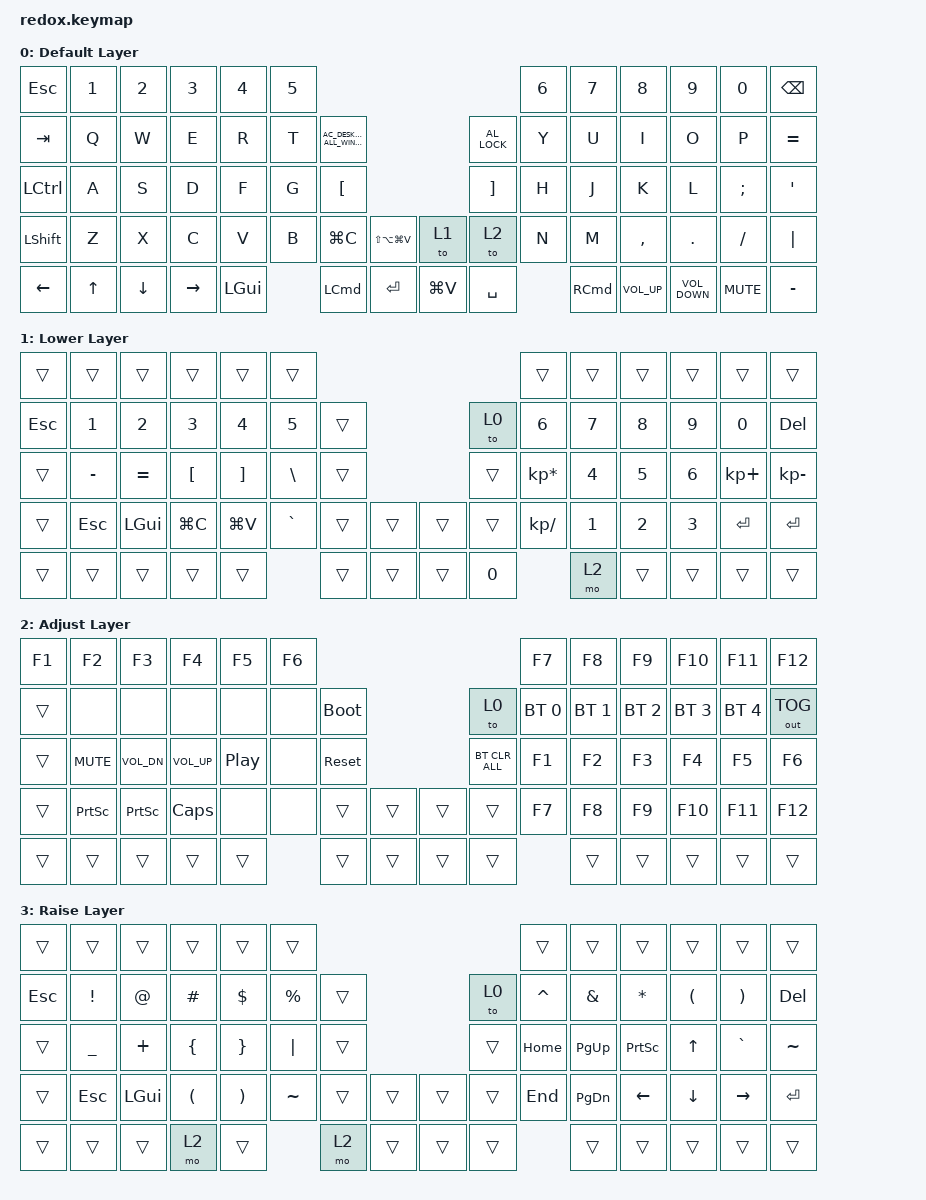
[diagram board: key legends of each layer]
/*
 * Copyright (c) 2021 The ZMK Contributors
 *
 * SPDX-License-Identifier: MIT
 */

#include <behaviors.dtsi>
#include <dt-bindings/zmk/bt.h>
#include <dt-bindings/zmk/keys.h>
#include <dt-bindings/zmk/outputs.h>

/ {
    keymap {
        compatible = "zmk,keymap";

        default_layer {
            display-name = "Default Layer";

            // --------------------------------------------------------------------------------------------------------------------------------
            // | ESC   |  1  |  2  |   3   |  4  |  5  |                   ---                |  6    |  7    |  8    |  9   | 0  |    BSPC   |
            // | TAB   |  Q  |  W  |   E   |  R  |  T  |   (   |           ---        |  )    |  Y    |  U    |  I    |  O   | P  |     -     |
            // | CTRL  |  A  |  S  |   D   |  F  |  G  |   [   |           ---        |  ]    |  H    |  J    |  K    |  L   | ;  |     '     |
            // | SHIFT |  Z  |  X  |   C   |  V  |  B  | PG_UP | PG_DOWN | --- | HOME | END   |  N    |  M    |  ,    |  .   | /  | SHFT(RET) |
            // | CRTL  | ALT | GUI | LOWER |    GUI    | LOWER | SPACE   | --- | DEL  | SPACE |     RAISE     | LEFT  | DOWN | UP |   RIGHT   |

            bindings = <
&kp ESC    &kp N1        &kp N2    &kp N3     &kp N4    &kp N5                                                                                    &kp N6  &kp N7             &kp N8           &kp N9             &kp N0      &kp BSPC
&kp TAB    &kp Q         &kp W     &kp E      &kp R     &kp T   &kp C_AC_DESKTOP_SHOW_ALL_WINDOWS                                  &kp C_AL_LOCK  &kp Y   &kp U              &kp I            &kp O              &kp P       &kp EQUAL
&kp LCTRL  &kp A         &kp S     &kp D      &kp F     &kp G   &kp LBKT                                                           &kp RBKT       &kp H   &kp J              &kp K            &kp L              &kp SEMI    &kp SQT
&kp LSHFT  &kp Z         &kp X     &kp C      &kp V     &kp B   &kp LG(C)                          &kp LS(LA(LG(V)))    &to 1      &to 2          &kp N   &kp M              &kp COMMA        &kp DOT            &kp FSLH    &kp PIPE
&kp LEFT   &kp UP_ARROW  &kp DOWN  &kp RIGHT  &kp LGUI          &kp LEFT_COMMAND                   &kp ENTER            &kp LG(V)  &kp SPACE              &kp RIGHT_COMMAND  &kp K_VOLUME_UP  &kp K_VOLUME_DOWN  &kp K_MUTE  &kp MINUS
            >;
        };

        lower_layer {
            display-name = "Lower Layer";

            // --------------------------------------------------------------------------------------------------------------------------
            // | ESC   |  1  |  2  |   3   |   4   |  5  |                   ---              |  6  |  7  |   8  |  9   |  0  |  DEL  |
            // | ESC   |  1  |  2  |   3   |   4   |  5  |   (   |           ---        |  )  |  6  |  7  |   8  |  9   |  0  |  DEL  |
            // | CTRL  |  -  |  =  |   [   |   ]   |  \  |   [   |           ---        |  ]  |  *  |  4  |   5  |  6   |  +  |   -   |
            // | SHIFT | ESC | GUI | COPY  | PASTE |     | PG_UP | PG_DOWN | --- | HOME | END |  \  |  1  |   2  |  3   | RET |  RET  |
            // | CRTL  | ALT | GUI | LOWER |     GUI     | LOWER | SPACE   | --- | DEL  |  0  |    RAISE  | LEFT | DOWN | UP  | RIGHT |

            bindings = <
&trans   &trans     &trans     &trans     &trans     &trans                                       &trans           &trans  &trans  &trans  &trans       &trans
&kp ESC  &kp N1     &kp N2     &kp N3     &kp N4     &kp N5     &trans                    &to 0   &kp N6           &kp N7  &kp N8  &kp N9  &kp N0       &kp DEL
&trans   &kp MINUS  &kp EQUAL  &kp LBKT   &kp RBKT   &kp BSLH   &trans                    &trans  &kp KP_MULTIPLY  &kp N4  &kp N5  &kp N6  &kp KP_PLUS  &kp KP_MINUS
&trans   &kp ESC    &kp LGUI   &kp LG(C)  &kp LG(V)  &kp GRAVE  &trans  &trans    &trans  &trans  &kp KP_DIVIDE    &kp N1  &kp N2  &kp N3  &kp RET      &kp RET
&trans   &trans     &trans     &trans     &trans                &trans  &trans    &trans  &kp N0                   &mo 2   &trans  &trans  &trans       &trans
            >;
        };

        adjust_layer {
            display-name = "Adjust Layer";

            // -----------------------------------------------------------------------------------------
            // |  F1   |  F2   |    F3    |    F4     |     F5     | F6 |                   ---                | F7  | F8  |  F9  |  F10 | F11 | F12        |
            // | TAB   |       |          |           |            |    | BOOTL |           ---        |  )    | BT1 | BT2 |  BT3 |  BT4 | BT5 | OUTPUT TGL |
            // | CTRL  | MUTE  |  Vol Dn  |  Vol Up   | Play/Pause |    | RESET |           ---        |  ]    | F1  | F2  |  F3  |  F4  | F5  | F6         |
            // | SHIFT | PSCRN |  PSCRN   |   CAPS    |            |    | PG_UP | PG_DOWN | --- | HOME | END   | F7  | F8  |  F9  |  F10 | F11 | F12        |
            // | CRTL  | ALT   |  GUI     |   LOWER   |      GUI        | LOWER | SPACE   | --- | DEL  | SPACE |   RAISE   | LEFT | DOWN | UP  |   RIGHT    |

            bindings = <
&kp F1  &kp F2      &kp F3        &kp F4        &kp F5            &kp F6                                                 &kp F7        &kp F8        &kp F9        &kp F10       &kp F11       &kp F12
&trans  &none       &none         &none         &none             &none   &bootloader                    &to 0           &bt BT_SEL 0  &bt BT_SEL 1  &bt BT_SEL 2  &bt BT_SEL 3  &bt BT_SEL 4  &out OUT_TOG
&trans  &kp K_MUTE  &kp C_VOL_DN  &kp C_VOL_UP  &kp C_PLAY_PAUSE  &none   &sys_reset                     &bt BT_CLR_ALL  &kp F1        &kp F2        &kp F3        &kp F4        &kp F5        &kp F6
&trans  &kp PSCRN   &kp PSCRN     &kp CLCK      &none             &none   &trans       &trans    &trans  &trans          &kp F7        &kp F8        &kp F9        &kp F10       &kp F11       &kp F12
&trans  &trans      &trans        &trans        &trans                    &trans       &trans    &trans  &trans                        &trans        &trans        &trans        &trans        &trans
            >;
        };

        raise_layer {
            display-name = "Raise Layer";

            // ----------------------------------------------------------------------------------------------------------------------------
            // | ESC   |  1  |  2  |   3   |  4  |  5  |                   ---                |  6   |  7   |  8   |  9   |  0    |  DEL  |
            // | ESC   |  !  |  @  |   #   |  $  |  %  |   (   |           ---        |  )    |  ^   |  &   |  *   |  (   |  )    |  DEL  |
            // | CTRL  |  _  |  +  |   {   |  }  | "|" |   [   |           ---        |  ]    | HOME | PGUP | PRSC | UP   |  `    |   ~   |
            // | SHIFT | ESC | GUI |   (   |  )  |     | PG_UP | PG_DOWN | --- | HOME | END   | END  | PGDN | LEFT | DOWN | RIGHT |  RET  |
            // | CRTL  | ALT | GUI | LOWER |    GUI    | LOWER | SPACE   | --- | DEL  | SPACE |    RAISE    | LEFT | DOWN | UP    | RIGHT |

            bindings = <
&trans   &trans     &trans    &trans    &trans    &trans                                       &trans     &trans     &trans     &trans    &trans     &trans
&kp ESC  &kp EXCL   &kp AT    &kp HASH  &kp DLLR  &kp PRCNT  &trans                    &to 0   &kp CARET  &kp AMPS   &kp ASTRK  &kp LPAR  &kp RPAR   &kp DEL
&trans   &kp UNDER  &kp PLUS  &kp LBRC  &kp RBRC  &kp PIPE   &trans                    &trans  &kp HOME   &kp PG_UP  &kp PSCRN  &kp UP    &kp GRAVE  &kp TILDE
&trans   &kp ESC    &kp LGUI  &kp LPAR  &kp RPAR  &kp TILDE  &trans  &trans    &trans  &trans  &kp END    &kp PG_DN  &kp LEFT   &kp DOWN  &kp RIGHT  &kp RET
&trans   &trans     &trans    &mo 2     &trans               &mo 2   &trans    &trans  &trans             &trans     &trans     &trans    &trans     &trans
            >;
        };
    };
};
